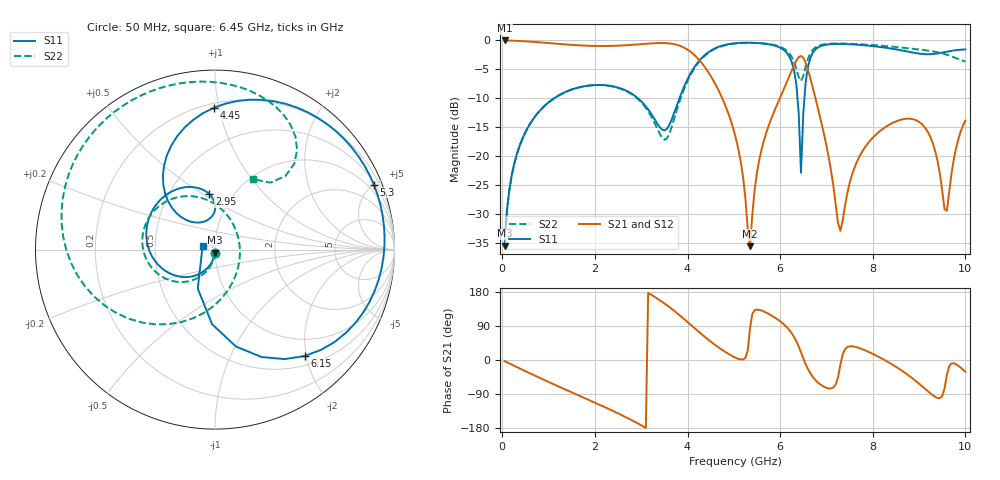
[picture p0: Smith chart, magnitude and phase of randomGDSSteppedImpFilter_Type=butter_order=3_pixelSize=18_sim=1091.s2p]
! freq	dB(S11)	phase(S11)	dB(S12)	phase(S12)
!  dB(S21)	phase(S21)	dB(S22)	phase(S22)
!S-par simulation data
#  GHz  S  DB  R 50
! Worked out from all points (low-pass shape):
!   200 points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, 50 MHz to 10 GHz, reference 50 ohm
!   highest |S21| = 0.00 dB at 50 MHz (marker M1); lowest = -35.5 dB at 5.35 GHz (marker M2)
!   |S21| within 3 dB of the highest: start of sweep to 4.209 GHz; 6.389 GHz to 6.499 GHz (109.6 MHz wide, 1.7 % of centre)
!   lowest |S11| = -35.5 dB at 50 MHz (marker M3), VSWR 1.03, Z = 49.9 - j1.68 ohm
!   |S11| at or under -10 dB: start of sweep to 1.118 GHz; 2.93 GHz to 3.825 GHz (895.1 MHz wide, 26.5 % of centre); 6.374 GHz to 6.525 GHz (150.1 MHz wide, 2.33 % of centre)
!   |S22| runs from -35.4 to -0.4 dB; largest |S21 - S12| = 0
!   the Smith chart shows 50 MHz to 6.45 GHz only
!   S11 on the Smith chart (normalised r, x): 50 MHz: 1.00, -0.03; 2.95 GHz: 0.78, +0.53; 4.45 GHz: 0.23, +0.97; 5.3 GHz: 0.59, +5.02; 6.15 GHz: 0.66, -1.97; 6.45 GHz: 0.87, +0.04
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0.05  -35.45 -93.2  -0.00 -3.0  -0.00 -3.0  -35.44 -92.6
0.5  -15.83 -122.8  -0.15 -29.5  -0.15 -29.5  -15.84 -117.2
1.75  -7.94 161.1  -0.89 -99.1  -0.89 -99.1  -7.94 179.6
2.95  -10.13 95.9  -0.68 -168.8  -0.68 -168.8  -10.29 107.3
3.4  -14.98 98.0  -0.44 157.8  -0.44 157.8  -16.14 40.2
3.95  -7.55 131.6  -1.35 105.6  -1.35 105.6  -7.93 -107.6
4.45  -2.03 90.3  -5.50 53.4  -5.50 53.4  -2.15 -169.6
5.05  -0.47 40.5  -17.10 5.4  -17.10 5.4  -0.52 137.3
5.3  -0.39 22.2  -32.54 25.1  -32.54 25.1  -0.42 119.2
5.35  -0.39 18.7  -35.54 84.3  -35.54 84.3  -0.42 115.7
5.6  -0.50 0.8  -18.78 130.4  -18.78 130.4  -0.50 98.7
6.15  -2.21 -49.9  -7.09 85.8  -7.09 85.8  -1.82 58.7
6.35  -7.62 -92.2  -3.46 49.3  -3.46 49.3  -4.91 46.2
6.45  -22.84 162.7  -2.69 20.3  -2.69 20.3  -7.01 61.6
6.55  -7.28 44.5  -3.84 -10.6  -3.84 -10.6  -4.53 76.5
6.7  -2.21 5.1  -7.99 -44.0  -7.99 -44.0  -1.67 64.8
7.3  -0.61 -54.5  -32.90 -13.0  -32.90 -13.0  -0.53 18.0
8.35  -1.34 -126.2  -14.58 -6.7  -14.58 -6.7  -1.02 -47.5
8.9  -2.15 173.9  -13.68 -52.6  -13.68 -52.6  -1.48 -85.3
9.35  -2.31 98.1  -19.16 -97.4  -19.16 -97.4  -1.96 -124.9
9.6  -1.94 53.5  -29.41 -38.7  -29.41 -38.7  -2.48 -154.1
10  -1.55 -1.4  -13.86 -31.0  -13.86 -31.0  -3.63 145.4
